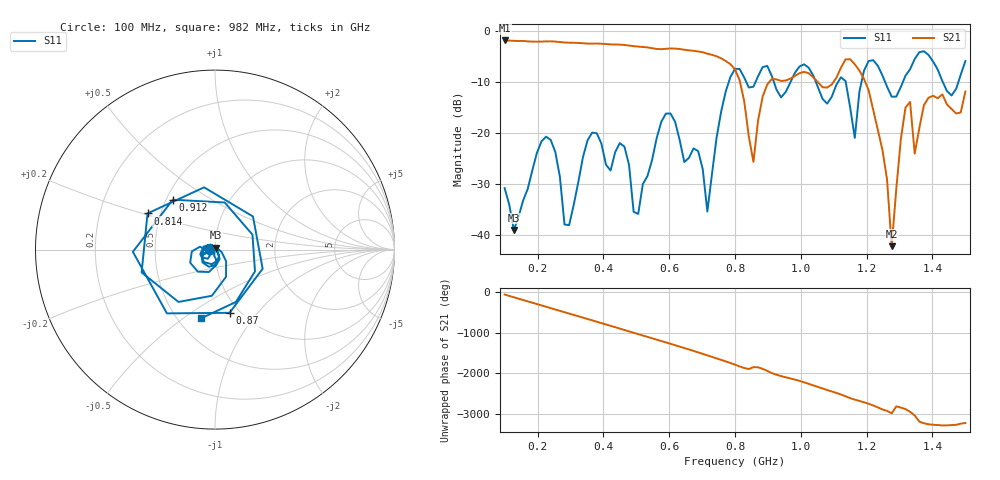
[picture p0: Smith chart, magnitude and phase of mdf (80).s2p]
! NanoVNA-App
! Date: 2025-09-25 15:39:03
! Start: 100MHz Stop: 1,5GHz Points: 101
! S-Parameter data: F S11 S21 S12 S22
# Hz S RI R 50
!  Frequency  S11_Real  S11_Imag  S21_Real  S21_Imag  S12_Real  S12_Imag  S22_Real  S22_Imag
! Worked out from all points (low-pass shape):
!   101 points, 100 MHz to 1.5 GHz, reference 50 ohm
!   highest |S21| = -1.80 dB at 100 MHz (marker M1); lowest = -42.1 dB at 1.276 GHz (marker M2)
!   |S21| within 3 dB of the highest: start of sweep to 739 MHz
!   lowest |S11| = -39.0 dB at 128 MHz (marker M3), VSWR 1.02, Z = 50.3 + j1.08 ohm
!   |S11| at or under -10 dB: start of sweep to 780.9 MHz; 918.4 MHz to 968.4 MHz (49.99 MHz wide, 5.3 % of centre); 1.046 GHz to 1.113 GHz (66.74 MHz wide, 6.18 % of centre)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
!   S12 and S22 are empty: the file has one direction only
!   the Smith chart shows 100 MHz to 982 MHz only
!   S11 on the Smith chart (normalised r, x): 100 MHz: 0.94, -0.01; 814 MHz: 0.42, +0.21; 870 MHz: 0.90, -0.73; 912 MHz: 0.54, +0.35; 982 MHz: 0.65, -0.59
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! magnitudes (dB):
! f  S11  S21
! 100 MHz  -30.8  -1.8
! 128 MHz  -39.0  -1.9
! 212 MHz  -21.6  -2.0
! 282 MHz  -37.9  -2.2
! 338 MHz  -24.7  -2.3
! 464 MHz  -22.6  -2.7
! 506 MHz  -35.8  -3.0
! 576 MHz  -17.8  -3.5
! 716 MHz  -35.4  -4.4
! 800 MHz  -7.4  -7.5
! 814 MHz  -7.4  -9.6
! 856 MHz  -10.9  -25.6
! 870 MHz  -8.8  -17.6
! 912 MHz  -8.8  -9.4
! 982 MHz  -8.1  -8.8
! 1.038 GHz  -8.7  -9.0
! 1.164 GHz  -20.9  -6.5
! 1.192 GHz  -7.7  -9.4
! 1.276 GHz  -12.8  -42.1
! 1.318 GHz  -8.7  -15.0
! 1.346 GHz  -5.4  -24.0
! 1.5 GHz  -5.8  -11.8
